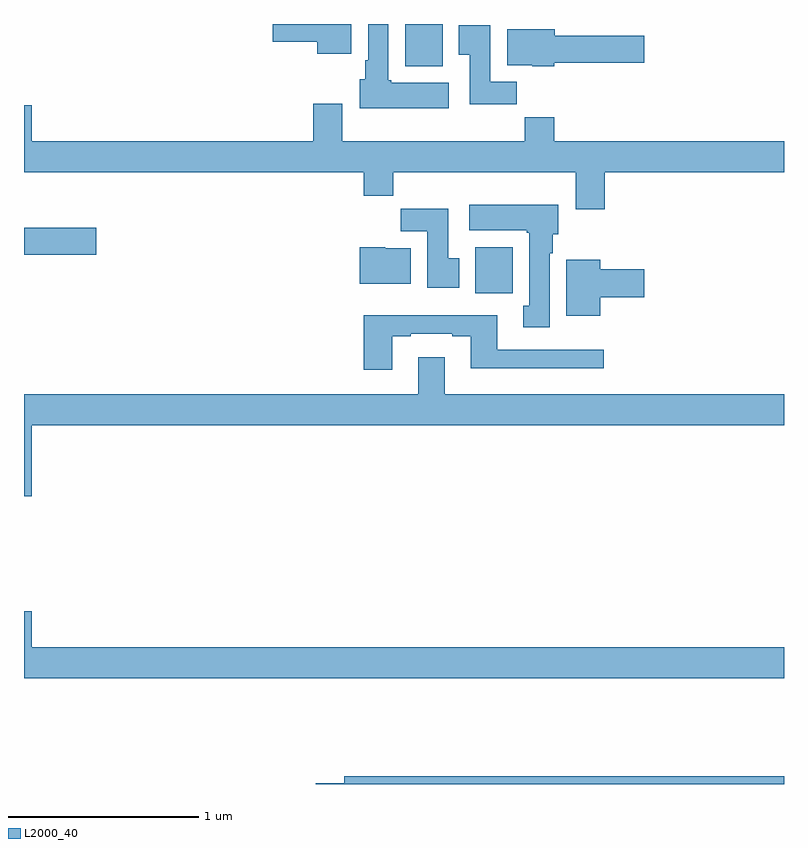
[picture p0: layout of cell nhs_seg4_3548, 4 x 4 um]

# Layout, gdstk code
import gdstk
lib = gdstk.Library(unit=1e-6, precision=1e-09)
def R(c, l, rs):  # rectangles x0, y0, x1, y1
    for r in rs: c.add(gdstk.rectangle(r[:2], r[2:], *l))
def P(c, l, *ps):  # polygons
    for p in ps: c.add(gdstk.Polygon(p, *l))
L2000_40 = (2000, 40)

nhs_seg4_3548 = lib.new_cell('nhs_seg4_3548')
R(nhs_seg4_3548, L2000_40, [(299.375,829.484,299.572,829.726), (297,829.685,297.379,829.827), (299.007,830.678,299.203,830.9)])
P(nhs_seg4_3548, L2000_40, [(299.236,830.59),(298.932,830.59),(298.932,830.604),(298.918,830.604),(298.918,830.9),(298.811,830.9),(298.811,830.71),(298.796,830.71),(298.796,830.61),(298.766,830.61),(298.766,830.456),(299.236,830.456)],
  [(298.723,830.9),(298.31,830.9),(298.31,830.807),(298.544,830.807),(298.544,830.744),(298.723,830.744)],
  [(299.594,830.596),(299.455,830.596),(299.455,830.893),(299.288,830.893),(299.288,830.737),(299.345,830.737),(299.345,830.478),(299.594,830.478)],
  [(299.79,830.695),(300.265,830.695),(300.265,830.837),(299.794,830.837),(299.794,830.872),(299.543,830.872),(299.543,830.684),(299.676,830.684),(299.676,830.678),(299.79,830.678)],
  [(300.056,830.12),(301,830.12),(301,830.284),(299.792,830.284),(299.792,830.408),(299.635,830.408),(299.635,830.284),(298.675,830.284),(298.675,830.479),(298.523,830.479),(298.523,830.284),(297.04,830.284),(297.04,830.473),(297,830.473),(297,830.12),(298.787,830.12),(298.787,829.996),(298.943,829.996),(298.943,830.12),(299.903,830.12),(299.903,829.926),(300.056,829.926)],
  [(299.767,829.694),(299.782,829.694),(299.782,829.794),(299.812,829.794),(299.812,829.948),(299.343,829.948),(299.343,829.814),(299.647,829.814),(299.647,829.801),(299.66,829.801),(299.66,829.418),(299.627,829.418),(299.627,829.305),(299.767,829.305)],
  [(299.29,829.668),(299.233,829.668),(299.233,829.927),(298.984,829.927),(298.984,829.808),(299.123,829.808),(299.123,829.512),(299.29,829.512)],
  [(299.035,829.72),(298.902,829.72),(298.902,829.726),(298.766,829.726),(298.766,829.532),(299.035,829.532)],
  [(300.034,829.463),(300.265,829.463),(300.265,829.61),(300.034,829.61),(300.034,829.66),(299.855,829.66),(299.855,829.364),(300.034,829.364)],
  [(298.939,829.257),(299.035,829.257),(299.035,829.269),(299.255,829.269),(299.255,829.257),(299.351,829.257),(299.351,829.088),(300.052,829.088),(300.052,829.185),(299.491,829.185),(299.491,829.366),(298.787,829.366),(298.787,829.08),(298.939,829.08)],
  [(297.04,828.788),(301,828.788),(301,828.952),(299.215,828.952),(299.215,829.147),(299.075,829.147),(299.075,828.952),(297,828.952),(297,828.414),(297.04,828.414)],
  [(301,827.62),(297.04,827.62),(297.04,827.809),(297,827.809),(297,827.456),(301,827.456)],
  [(301,826.94),(298.685,826.94),(298.685,826.904),(298.536,826.904),(298.536,826.9),(301,826.9)])

lib.write_gds('nhs_seg4_3548.gds')
